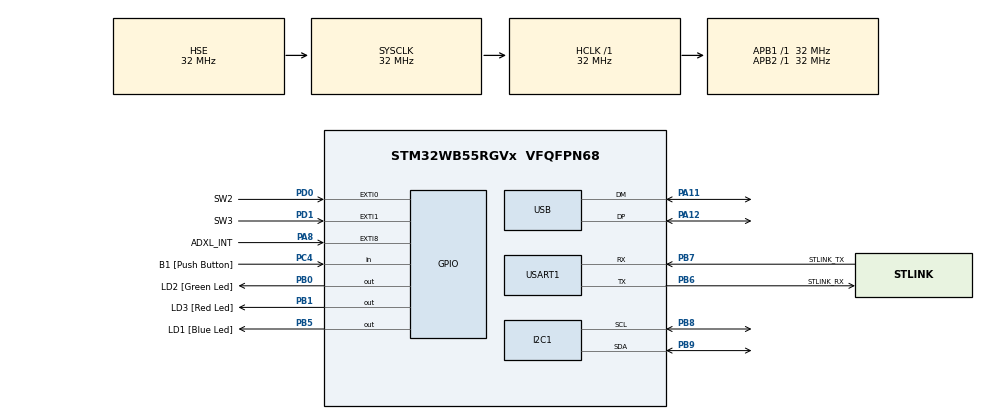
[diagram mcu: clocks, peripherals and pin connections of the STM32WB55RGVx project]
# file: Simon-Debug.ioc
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I2C1.Timing=0x00707CBB
Mcu.Family=STM32WB
Mcu.Name=STM32WB55RGVx
Mcu.Package=VFQFPN68
NVIC.EXTI0_IRQn=true\:0\:0\:false\:false\:true\:true\:true
NVIC.EXTI1_IRQn=true\:0\:0\:false\:false\:true\:true\:true
NVIC.EXTI9_5_IRQn=true\:0\:0\:false\:false\:true\:true\:true
NVIC.PriorityGroup=NVIC_PRIORITYGROUP_4
OSC_IN.Mode=HSE-External-Oscillator
OSC_IN.Signal=RCC_OSC_IN
OSC_OUT.Mode=HSE-External-Oscillator
OSC_OUT.Signal=RCC_OSC_OUT
PA11.Mode=Device
PA11.Signal=USB_DM
PA12.Mode=Device
PA12.Signal=USB_DP
PA13.GPIO_Label=JTMS
PA13.Mode=Trace_Asynchronous_SW
PA13.Signal=SYS_JTMS-SWDIO
PA14.GPIO_Label=JTCK
PA14.Mode=Trace_Asynchronous_SW
PA14.Signal=SYS_JTCK-SWCLK
PA8.GPIO_Label=ADXL_INT
PA8.Signal=GPXTI8
PB0.GPIO_Label=LD2 [Green Led]
PB0.Signal=GPIO_Output
PB1.GPIO_Label=LD3 [Red Led]
PB1.Signal=GPIO_Output
PB3.GPIO_Label=JTDO
PB3.Mode=Trace_Asynchronous_SW
PB3.Signal=SYS_JTDO-SWO
PB5.GPIO_Label=LD1 [Blue Led]
PB5.Signal=GPIO_Output
PB6.GPIO_Label=STLINK_RX
PB6.Mode=Asynchronous
PB6.Signal=USART1_TX
PB7.GPIO_Label=STLINK_TX
PB7.Mode=Asynchronous
PB7.Signal=USART1_RX
PB8.Mode=I2C
PB8.Signal=I2C1_SCL
PB9.Mode=I2C
PB9.Signal=I2C1_SDA
PC13.Mode=SYS_WakeUp1
PC13.Signal=SYS_WKUP2
PC14-OSC32_IN.Mode=LSE-External-Oscillator
PC14-OSC32_IN.Signal=RCC_OSC32_IN
PC15-OSC32_OUT.Mode=LSE-External-Oscillator
PC15-OSC32_OUT.Signal=RCC_OSC32_OUT
PC4.GPIO_Label=B1 [Push Button]
PC4.Signal=GPIO_Input
PD0.GPIO_Label=SW2
PD0.GPIO_ModeDefaultEXTI=GPIO_MODE_IT_FALLING
PD0.GPIO_PuPd=GPIO_PULLUP
PD0.Signal=GPXTI0
PD1.GPIO_Label=SW3
PD1.GPIO_ModeDefaultEXTI=GPIO_MODE_IT_FALLING
PD1.GPIO_PuPd=GPIO_PULLUP
PD1.Signal=GPXTI1
ProjectManager.HeapSize=0x200
ProjectManager.StackSize=0x400
ProjectManager.TargetToolchain=TrueSTUDIO
RCC.ADCFreq_Value=48000000
RCC.AHBFreq_Value=32000000
RCC.APB1Freq_Value=32000000
RCC.APB1TimFreq_Value=32000000
RCC.APB2Freq_Value=32000000
RCC.APB2TimFreq_Value=32000000
RCC.APB3Freq_Value=16000000
RCC.CortexFreq_Value=32000000
RCC.HCLKFreq_Value=32000000
RCC.HSE_VALUE=32000000
RCC.HSI48_VALUE=48000000
RCC.HSI_VALUE=16000000
RCC.PLLN=32
RCC.PLLSAI1N=24
RCC.RFWKPClockSelection=RCC_RFWKPCLKSOURCE_LSE
RCC.RTCClockSelection=RCC_RTCCLKSOURCE_LSE
RCC.SYSCLKFreq_VALUE=32000000
RCC.SYSCLKSource=RCC_SYSCLKSOURCE_HSE
RCC.USBFreq_Value=48000000
RCC.VCOOutputFreq_Value=128000000
RF1.Mode=RF1_Activate
RF1.Signal=RF_RF1
USART1.VirtualMode-Asynchronous=VM_ASYNC
board=P-NUCLEO-WB55-Nucleo

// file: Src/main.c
/* USER CODE BEGIN Header */
/**
  ******************************************************************************
  * @file           : main.c
  * @brief          : Main program body
  ******************************************************************************
  * @attention
  *
  * <h2><center>&copy; Copyright (c) 2019 STMicroelectronics.
  * All rights reserved.</center></h2>
  *
  * This software component is licensed by ST under BSD 3-Clause license,
  * the "License"; You may not use this file except in compliance with the
  * License. You may obtain a copy of the License at:
  *                        opensource.org/licenses/BSD-3-Clause
  *
  ******************************************************************************
  */
/* USER CODE END Header */

#include "main.h"

/* USER CODE BEGIN Includes */
#include "adxl375.h"
#include <stdio.h>
/* USER CODE END Includes */

I2C_HandleTypeDef hi2c1;

UART_HandleTypeDef huart1;

PCD_HandleTypeDef hpcd_USB_FS;

/* USER CODE BEGIN PV */

volatile uint8_t measurement[6]; //measurement array
volatile int16_t x,y,z; //raw values
volatile float xg, yg, zg; //weighted values

static float scaleFactor = .049;

volatile uint8_t readModeFlag = 0;
uint8_t intModeFlag;

/* USER CODE END PV */

void SystemClock_Config(void);
static void MX_GPIO_Init(void);
static void MX_I2C1_Init(void);
static void MX_RF_Init(void);
static void MX_USART1_UART_Init(void);
static void MX_USB_PCD_Init(void);

int main(void)
{

  /* MCU Configuration--------------------------------------------------------*/

  /* Reset of all peripherals, Initializes the Flash interface and the Systick. */
  HAL_Init();

  /* Configure the system clock */
  SystemClock_Config();

  /* Initialize all configured peripherals */
  MX_GPIO_Init();
  MX_I2C1_Init();
  MX_RF_Init();
  MX_USART1_UART_Init();
  MX_USB_PCD_Init();

  /* Infinite loop */
  while (1)
  {

    /* USER CODE BEGIN 3 */
	  if(readModeFlag == 1)
	  {
		  adxlTestMeasure();
	  }
  }
  /* USER CODE END 3 */
}

void SystemClock_Config(void)
{
  RCC_OscInitTypeDef RCC_OscInitStruct = {0};
  RCC_ClkInitTypeDef RCC_ClkInitStruct = {0};
  RCC_PeriphCLKInitTypeDef PeriphClkInitStruct = {0};

  /** Macro to configure the PLL multiplication factor
  */
  __HAL_RCC_PLL_PLLM_CONFIG(RCC_PLLM_DIV1);
  /** Macro to configure the PLL clock source
  */
  __HAL_RCC_PLL_PLLSOURCE_CONFIG(RCC_PLLSOURCE_MSI);
  /** Configure LSE Drive Capability
  */
  __HAL_RCC_LSEDRIVE_CONFIG(RCC_LSEDRIVE_LOW);
  /** Configure the main internal regulator output voltage
  */
  __HAL_PWR_VOLTAGESCALING_CONFIG(PWR_REGULATOR_VOLTAGE_SCALE1);
  /** Initializes the CPU, AHB and APB busses clocks
  */
  RCC_OscInitStruct.OscillatorType = RCC_OSCILLATORTYPE_HSI|RCC_OSCILLATORTYPE_HSE
                              |RCC_OSCILLATORTYPE_LSE|RCC_OSCILLATORTYPE_MSI;
  RCC_OscInitStruct.HSEState = RCC_HSE_ON;
  RCC_OscInitStruct.LSEState = RCC_LSE_ON;
  RCC_OscInitStruct.HSIState = RCC_HSI_ON;
  RCC_OscInitStruct.MSIState = RCC_MSI_ON;
  RCC_OscInitStruct.HSICalibrationValue = RCC_HSICALIBRATION_DEFAULT;
  RCC_OscInitStruct.MSICalibrationValue = RCC_MSICALIBRATION_DEFAULT;
  RCC_OscInitStruct.MSIClockRange = RCC_MSIRANGE_6;
  RCC_OscInitStruct.PLL.PLLState = RCC_PLL_NONE;
  if (HAL_RCC_OscConfig(&RCC_OscInitStruct) != HAL_OK)
  {
    Error_Handler();
  }
  /** Configure the SYSCLKSource, HCLK, PCLK1 and PCLK2 clocks dividers
  */
  RCC_ClkInitStruct.ClockType = RCC_CLOCKTYPE_HCLK4|RCC_CLOCKTYPE_HCLK2
                              |RCC_CLOCKTYPE_HCLK|RCC_CLOCKTYPE_SYSCLK
                              |RCC_CLOCKTYPE_PCLK1|RCC_CLOCKTYPE_PCLK2;
  RCC_ClkInitStruct.SYSCLKSource = RCC_SYSCLKSOURCE_HSE;
  RCC_ClkInitStruct.AHBCLKDivider = RCC_SYSCLK_DIV1;
  RCC_ClkInitStruct.APB1CLKDivider = RCC_HCLK_DIV1;
  RCC_ClkInitStruct.APB2CLKDivider = RCC_HCLK_DIV1;
  RCC_ClkInitStruct.AHBCLK2Divider = RCC_SYSCLK_DIV1;
  RCC_ClkInitStruct.AHBCLK4Divider = RCC_SYSCLK_DIV1;

  if (HAL_RCC_ClockConfig(&RCC_ClkInitStruct, FLASH_LATENCY_1) != HAL_OK)
  {
    Error_Handler();
  }
  /** Initializes the peripherals clocks
  */
  PeriphClkInitStruct.PeriphClockSelection = RCC_PERIPHCLK_SMPS|RCC_PERIPHCLK_RFWAKEUP
                              |RCC_PERIPHCLK_USART1|RCC_PERIPHCLK_I2C1
                              |RCC_PERIPHCLK_USB;
  PeriphClkInitStruct.PLLSAI1.PLLN = 24;
  PeriphClkInitStruct.PLLSAI1.PLLP = RCC_PLLP_DIV2;
  PeriphClkInitStruct.PLLSAI1.PLLQ = RCC_PLLQ_DIV2;
  PeriphClkInitStruct.PLLSAI1.PLLR = RCC_PLLR_DIV2;
  PeriphClkInitStruct.PLLSAI1.PLLSAI1ClockOut = RCC_PLLSAI1_USBCLK;
  PeriphClkInitStruct.Usart1ClockSelection = RCC_USART1CLKSOURCE_PCLK2;
  PeriphClkInitStruct.I2c1ClockSelection = RCC_I2C1CLKSOURCE_PCLK1;
  PeriphClkInitStruct.UsbClockSelection = RCC_USBCLKSOURCE_PLLSAI1;
  PeriphClkInitStruct.RFWakeUpClockSelection = RCC_RFWKPCLKSOURCE_LSE;
  PeriphClkInitStruct.SmpsClockSelection = RCC_SMPSCLKSOURCE_HSE;
  PeriphClkInitStruct.SmpsDivSelection = RCC_SMPSCLKDIV_RANGE0;

  if (HAL_RCCEx_PeriphCLKConfig(&PeriphClkInitStruct) != HAL_OK)
  {
    Error_Handler();
  }
  /** Enable MSI Auto calibration
  */
  HAL_RCCEx_EnableMSIPLLMode();
}

static void MX_I2C1_Init(void)
{

  hi2c1.Instance = I2C1;
  hi2c1.Init.Timing = 0x00707CBB;
  hi2c1.Init.OwnAddress1 = 0;
  hi2c1.Init.AddressingMode = I2C_ADDRESSINGMODE_7BIT;
  hi2c1.Init.DualAddressMode = I2C_DUALADDRESS_DISABLE;
  hi2c1.Init.OwnAddress2 = 0;
  hi2c1.Init.OwnAddress2Masks = I2C_OA2_NOMASK;
  hi2c1.Init.GeneralCallMode = I2C_GENERALCALL_DISABLE;
  hi2c1.Init.NoStretchMode = I2C_NOSTRETCH_DISABLE;
  if (HAL_I2C_Init(&hi2c1) != HAL_OK)
  {
    Error_Handler();
  }
  /** Configure Analogue filter
  */
  if (HAL_I2CEx_ConfigAnalogFilter(&hi2c1, I2C_ANALOGFILTER_ENABLE) != HAL_OK)
  {
    Error_Handler();
  }
  /** Configure Digital filter
  */
  if (HAL_I2CEx_ConfigDigitalFilter(&hi2c1, 0) != HAL_OK)
  {
    Error_Handler();
  }

}

static void MX_RF_Init(void)
{

}

static void MX_USART1_UART_Init(void)
{

  huart1.Instance = USART1;
  huart1.Init.BaudRate = 115200;
  huart1.Init.WordLength = UART_WORDLENGTH_7B;
  huart1.Init.StopBits = UART_STOPBITS_1;
  huart1.Init.Parity = UART_PARITY_NONE;
  huart1.Init.Mode = UART_MODE_TX_RX;
  huart1.Init.HwFlowCtl = UART_HWCONTROL_NONE;
  huart1.Init.OverSampling = UART_OVERSAMPLING_16;
  huart1.Init.OneBitSampling = UART_ONE_BIT_SAMPLE_DISABLE;
  huart1.Init.ClockPrescaler = UART_PRESCALER_DIV1;
  huart1.AdvancedInit.AdvFeatureInit = UART_ADVFEATURE_NO_INIT;
  if (HAL_UART_Init(&huart1) != HAL_OK)
  {
    Error_Handler();
  }
  if (HAL_UARTEx_SetTxFifoThreshold(&huart1, UART_TXFIFO_THRESHOLD_1_8) != HAL_OK)
  {
    Error_Handler();
  }
  if (HAL_UARTEx_SetRxFifoThreshold(&huart1, UART_RXFIFO_THRESHOLD_1_8) != HAL_OK)
  {
    Error_Handler();
  }
  if (HAL_UARTEx_DisableFifoMode(&huart1) != HAL_OK)
  {
    Error_Handler();
  }

}

static void MX_USB_PCD_Init(void)
{

  hpcd_USB_FS.Instance = USB;
  hpcd_USB_FS.Init.dev_endpoints = 8;
  hpcd_USB_FS.Init.speed = PCD_SPEED_FULL;
  hpcd_USB_FS.Init.phy_itface = PCD_PHY_EMBEDDED;
  hpcd_USB_FS.Init.Sof_enable = DISABLE;
  hpcd_USB_FS.Init.low_power_enable = DISABLE;
  hpcd_USB_FS.Init.lpm_enable = DISABLE;
  hpcd_USB_FS.Init.battery_charging_enable = DISABLE;
  if (HAL_PCD_Init(&hpcd_USB_FS) != HAL_OK)
  {
    Error_Handler();
  }

}

static void MX_GPIO_Init(void)
{
  GPIO_InitTypeDef GPIO_InitStruct = {0};

  /* GPIO Ports Clock Enable */
  __HAL_RCC_GPIOC_CLK_ENABLE();
  __HAL_RCC_GPIOB_CLK_ENABLE();
  __HAL_RCC_GPIOA_CLK_ENABLE();
  __HAL_RCC_GPIOD_CLK_ENABLE();

  /*Configure GPIO pin Output Level */
  HAL_GPIO_WritePin(GPIOB, LD2_Pin|LD3_Pin|LD1_Pin, GPIO_PIN_RESET);

  /*Configure GPIO pin : ADXL_INT_Pin */
  GPIO_InitStruct.Pin = ADXL_INT_Pin;
  GPIO_InitStruct.Mode = GPIO_MODE_IT_RISING;
  GPIO_InitStruct.Pull = GPIO_NOPULL;
  HAL_GPIO_Init(ADXL_INT_GPIO_Port, &GPIO_InitStruct);

  /*Configure GPIO pin : B1_Pin */
  GPIO_InitStruct.Pin = B1_Pin;
  GPIO_InitStruct.Mode = GPIO_MODE_INPUT;
  GPIO_InitStruct.Pull = GPIO_NOPULL;
  HAL_GPIO_Init(B1_GPIO_Port, &GPIO_InitStruct);

  /*Configure GPIO pins : LD2_Pin LD3_Pin LD1_Pin */
  GPIO_InitStruct.Pin = LD2_Pin|LD3_Pin|LD1_Pin;
  GPIO_InitStruct.Mode = GPIO_MODE_OUTPUT_PP;
  GPIO_InitStruct.Pull = GPIO_NOPULL;
  GPIO_InitStruct.Speed = GPIO_SPEED_FREQ_LOW;
  HAL_GPIO_Init(GPIOB, &GPIO_InitStruct);

  /*Configure GPIO pins : SW2_Pin SW3_Pin */
  GPIO_InitStruct.Pin = SW2_Pin|SW3_Pin;
  GPIO_InitStruct.Mode = GPIO_MODE_IT_FALLING;
  GPIO_InitStruct.Pull = GPIO_PULLUP;
  HAL_GPIO_Init(GPIOD, &GPIO_InitStruct);

  /* EXTI interrupt init*/
  HAL_NVIC_SetPriority(EXTI0_IRQn, 0, 0);
  HAL_NVIC_EnableIRQ(EXTI0_IRQn);

  HAL_NVIC_SetPriority(EXTI1_IRQn, 0, 0);
  HAL_NVIC_EnableIRQ(EXTI1_IRQn);

  HAL_NVIC_SetPriority(EXTI9_5_IRQn, 0, 0);
  HAL_NVIC_EnableIRQ(EXTI9_5_IRQn);

}

/* USER CODE BEGIN 4 */

void adxlTestMeasure()
{
	adxlMultiByteReadI2C(0x32, measurement);
	x = ((measurement[0])| measurement[1]<<8);
	y = ((measurement[2])| measurement[3]<<8);
	z = ((measurement[4])| measurement[5]<<8);

	xg = x * scaleFactor;
	yg = y * scaleFactor;
	zg = z * scaleFactor;

	printf("X:%f ", xg);
	printf("Y:%f ", yg);
	printf("Z:%f\n", zg);

	if(readModeFlag == 1)
		HAL_Delay(500);
}

void runTestRoutine(uint8_t flag)
{

	if (flag == 1)
	{
		readModeFlag = 1;
	}
	else readModeFlag = 0;
}

/* USER CODE END 4 */

void Error_Handler(void)
{
}

/************************ (C) COPYRIGHT STMicroelectronics *****END OF FILE****/
